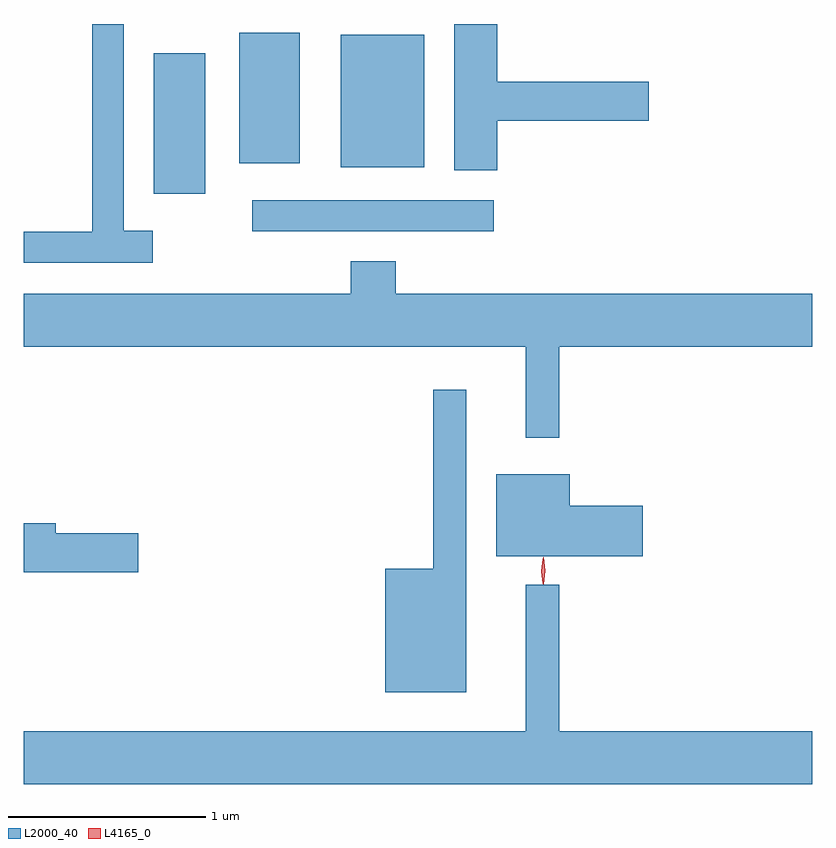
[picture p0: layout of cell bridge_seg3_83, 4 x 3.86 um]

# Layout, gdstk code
import gdstk
lib = gdstk.Library(unit=1e-6, precision=1e-09)
def R(c, l, rs):  # rectangles x0, y0, x1, y1
    for r in rs: c.add(gdstk.rectangle(r[:2], r[2:], *l))
def P(c, l, *ps):  # polygons
    for p in ps: c.add(gdstk.Polygon(p, *l))
L2000_40 = (2000, 40)
L4165_0 = (4165, 0)

bridge_seg3_83 = lib.new_cell('bridge_seg3_83')
R(bridge_seg3_83, L2000_40, [(1144.433,1219.841,1145.658,1219.999), (1143.931,1220.031,1144.194,1220.744), (1144.881,1220.166,1145.304,1220.839), (1144.366,1220.186,1144.674,1220.849)])
P(bridge_seg3_83, L2000_40, [(1145.674,1220.401),(1146.444,1220.401),(1146.444,1220.599),(1145.674,1220.599),(1145.674,1220.893),(1145.456,1220.893),(1145.456,1220.151),(1145.674,1220.151)],
  [(1143.928,1219.844),(1143.779,1219.844),(1143.779,1220.893),(1143.621,1220.893),(1143.621,1219.839),(1143.273,1219.839),(1143.273,1219.681),(1143.928,1219.681)],
  [(1145.989,1219.256),(1147.273,1219.256),(1147.273,1219.524),(1145.159,1219.524),(1145.159,1219.689),(1144.931,1219.689),(1144.931,1219.524),(1143.273,1219.524),(1143.273,1219.256),(1145.821,1219.256),(1145.821,1218.793),(1145.989,1218.793)],
  [(1145.519,1219.038),(1145.351,1219.038),(1145.351,1218.129),(1145.106,1218.129),(1145.106,1217.501),(1145.519,1217.501)],
  [(1146.414,1218.449),(1146.044,1218.449),(1146.044,1218.609),(1145.671,1218.609),(1145.671,1218.191),(1146.414,1218.191)],
  [(1143.854,1218.309),(1143.434,1218.309),(1143.434,1218.359),(1143.273,1218.359),(1143.273,1218.111),(1143.854,1218.111)],
  [(1147.273,1217.304),(1145.989,1217.304),(1145.989,1218.048),(1145.821,1218.048),(1145.821,1217.304),(1143.273,1217.304),(1143.273,1217.036),(1147.273,1217.036)])
P(bridge_seg3_83, L4165_0, [(1145.907,1218.053),(1145.898,1218.116),(1145.907,1218.179),(1145.908,1218.18),(1145.908,1218.179),(1145.918,1218.116),(1145.908,1218.053),(1145.908,1218.053)],
  [(1145.909,1218.05),(1145.9,1218.118),(1145.909,1218.186),(1145.91,1218.186),(1145.91,1218.186),(1145.92,1218.118),(1145.91,1218.05),(1145.91,1218.05)])

lib.write_gds('bridge_seg3_83.gds')
